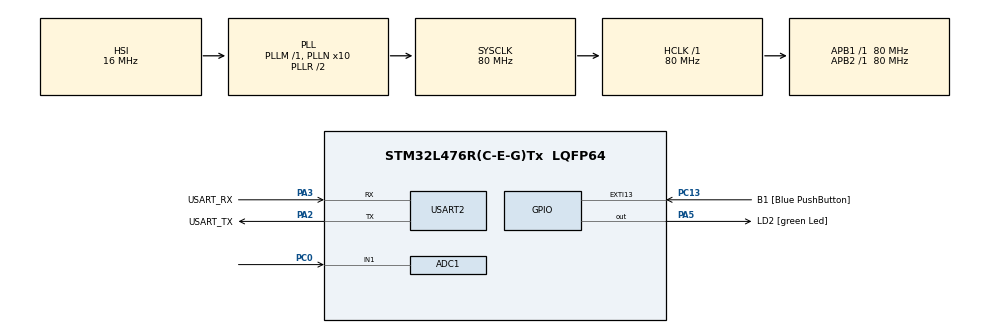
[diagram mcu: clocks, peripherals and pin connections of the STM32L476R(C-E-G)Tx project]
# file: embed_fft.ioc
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ADC1.Channel-0\#ChannelRegularConversion=ADC_CHANNEL_1
ADC1.ContinuousConvMode=DISABLE
ADC1.ExternalTrigConv=ADC_EXTERNALTRIG_T3_TRGO
ADC1.ExternalTrigConvEdge=ADC_EXTERNALTRIGCONVEDGE_RISING
ADC1.NbrOfConversionFlag=1
ADC1.OffsetNumber-0\#ChannelRegularConversion=ADC_OFFSET_NONE
ADC1.Rank-0\#ChannelRegularConversion=1
ADC1.SamplingTime-0\#ChannelRegularConversion=ADC_SAMPLETIME_2CYCLES_5
ADC1.master=1
Dma.Request0=USART2_RX
Dma.Request1=USART2_TX
Dma.USART2_RX.0.Direction=DMA_PERIPH_TO_MEMORY
Dma.USART2_RX.0.Instance=DMA1_Channel6
Dma.USART2_RX.0.MemDataAlignment=DMA_MDATAALIGN_BYTE
Dma.USART2_RX.0.MemInc=DMA_MINC_ENABLE
Dma.USART2_RX.0.Mode=DMA_CIRCULAR
Dma.USART2_RX.0.PeriphDataAlignment=DMA_PDATAALIGN_BYTE
Dma.USART2_RX.0.PeriphInc=DMA_PINC_DISABLE
Dma.USART2_RX.0.Priority=DMA_PRIORITY_MEDIUM
Dma.USART2_TX.1.Direction=DMA_MEMORY_TO_PERIPH
Dma.USART2_TX.1.Instance=DMA1_Channel7
Dma.USART2_TX.1.MemDataAlignment=DMA_MDATAALIGN_BYTE
Dma.USART2_TX.1.MemInc=DMA_MINC_ENABLE
Dma.USART2_TX.1.Mode=DMA_NORMAL
Dma.USART2_TX.1.PeriphDataAlignment=DMA_PDATAALIGN_BYTE
Dma.USART2_TX.1.PeriphInc=DMA_PINC_DISABLE
Dma.USART2_TX.1.Priority=DMA_PRIORITY_HIGH
FREERTOS.INCLUDE_vTaskDelayUntil=1
FREERTOS.INCLUDE_xTaskGetCurrentTaskHandle=1
FREERTOS.INCLUDE_xTaskGetHandle=1
FREERTOS.Tasks01=defaultTask,0,128,StartDefaultTask,Default,NULL,Dynamic,NULL,NULL
FREERTOS.configTOTAL_HEAP_SIZE=50000
FREERTOS.configUSE_NEWLIB_REENTRANT=1
Mcu.Family=STM32L4
Mcu.Name=STM32L476R(C-E-G)Tx
Mcu.Package=LQFP64
NVIC.ADC1_2_IRQn=true\:5\:0\:false\:false\:true\:true\:true\:true\:true
NVIC.DMA1_Channel6_IRQn=true\:5\:0\:false\:false\:true\:true\:false\:true\:true
NVIC.DMA1_Channel7_IRQn=true\:5\:0\:false\:false\:true\:true\:false\:true\:true
NVIC.PriorityGroup=NVIC_PRIORITYGROUP_4
NVIC.TIM1_UP_TIM16_IRQn=true\:15\:0\:false\:false\:true\:false\:false\:true\:true
NVIC.TIM6_DAC_IRQn=true\:5\:0\:false\:false\:true\:true\:true\:true\:true
NVIC.TimeBase=TIM1_UP_TIM16_IRQn
NVIC.TimeBaseIP=TIM1
NVIC.USART2_IRQn=true\:5\:0\:false\:false\:true\:true\:true\:true\:true
PA13\ (JTMS-SWDIO).GPIO_Label=TMS
PA13\ (JTMS-SWDIO).Mode=Serial_Wire
PA13\ (JTMS-SWDIO).Signal=SYS_JTMS-SWDIO
PA14\ (JTCK-SWCLK).GPIO_Label=TCK
PA14\ (JTCK-SWCLK).Mode=Serial_Wire
PA14\ (JTCK-SWCLK).Signal=SYS_JTCK-SWCLK
PA2.GPIO_Label=USART_TX
PA2.GPIO_Mode=GPIO_MODE_AF_PP
PA2.GPIO_PuPd=GPIO_NOPULL
PA2.GPIO_Speed=GPIO_SPEED_FREQ_VERY_HIGH
PA2.Mode=Asynchronous
PA2.Signal=USART2_TX
PA3.GPIO_Label=USART_RX
PA3.GPIO_Mode=GPIO_MODE_AF_PP
PA3.GPIO_PuPd=GPIO_NOPULL
PA3.GPIO_Speed=GPIO_SPEED_FREQ_VERY_HIGH
PA3.Mode=Asynchronous
PA3.Signal=USART2_RX
PA5.GPIO_Label=LD2 [green Led]
PA5.GPIO_ModeDefaultOutputPP=GPIO_MODE_OUTPUT_PP
PA5.GPIO_PuPd=GPIO_NOPULL
PA5.GPIO_Speed=GPIO_SPEED_FREQ_LOW
PA5.Signal=GPIO_Output
PB3\ (JTDO-TRACESWO).GPIO_Label=SWO
PB3\ (JTDO-TRACESWO).Signal=SYS_JTDO-SWO
PC0.Signal=ADCx_IN1
PC13.GPIO_Label=B1 [Blue PushButton]
PC13.GPIO_ModeDefaultEXTI=GPIO_MODE_IT_FALLING
PC13.GPIO_PuPd=GPIO_NOPULL
PC13.Signal=GPXTI13
PC14-OSC32_IN\ (PC14).Mode=LSE-External-Oscillator
PC14-OSC32_IN\ (PC14).Signal=RCC_OSC32_IN
PC15-OSC32_OUT\ (PC15).Mode=LSE-External-Oscillator
PC15-OSC32_OUT\ (PC15).Signal=RCC_OSC32_OUT
PH0-OSC_IN\ (PH0).Signal=RCC_OSC_IN
PH1-OSC_OUT\ (PH1).Signal=RCC_OSC_OUT
ProjectManager.HeapSize=0x200
ProjectManager.StackSize=0x400
ProjectManager.TargetToolchain=STM32CubeIDE
RCC.ADCFreq_Value=44000000
RCC.AHBFreq_Value=80000000
RCC.APB1Freq_Value=80000000
RCC.APB1TimFreq_Value=80000000
RCC.APB2Freq_Value=80000000
RCC.APB2TimFreq_Value=80000000
RCC.CortexFreq_Value=80000000
RCC.HCLKFreq_Value=80000000
RCC.HSE_VALUE=8000000
RCC.HSI_VALUE=16000000
RCC.MSIClockRange=RCC_MSIRANGE_5
RCC.MSI_VALUE=2000000
RCC.PLLN=10
RCC.PLLSAI1N=11
RCC.PLLSAI1R=RCC_PLLR_DIV4
RCC.PLLSourceVirtual=RCC_PLLSOURCE_HSI
RCC.PREFETCH_ENABLE=1
RCC.SYSCLKFreq_VALUE=80000000
RCC.SYSCLKSource=RCC_SYSCLKSOURCE_PLLCLK
RCC.USBFreq_Value=88000000
RCC.VCOOutputFreq_Value=160000000
SH.ADCx_IN1.0=ADC1_IN1,IN1-Single-Ended
TIM3.Channel-PWM\ Generation1\ No\ Output=TIM_CHANNEL_1
TIM3.Period=1814
TIM3.TIM_MasterOutputTrigger=TIM_TRGO_UPDATE
TIM6.Period=65535 - 1
TIM6.Prescaler=8000-1
USART2.VirtualMode-Asynchronous=VM_ASYNC
VP_FREERTOS_VS_CMSIS_V1.Mode=CMSIS_V1
VP_SYS_VS_tim1.Mode=TIM1
VP_TIM3_VS_ClockSourceINT.Mode=Internal
VP_TIM3_VS_no_output1.Mode=PWM Generation1 No Output
VP_TIM6_VS_ClockSourceINT.Mode=Enable_Timer
board=NUCLEO-L476RG

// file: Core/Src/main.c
/* USER CODE BEGIN Header */
/**
  ******************************************************************************
  * @file           : main.c
  * @brief          : Task, queue, peripheral initialization and starting of RTOS scheduler
  ******************************************************************************
  * @attention
  *
  * Copyright (c) 2022 STMicroelectronics.
  * All rights reserved.
  *
  * This software is licensed under terms that can be found in the LICENSE file
  * in the root directory of this software component.
  * If no LICENSE file comes with this software, it is provided AS-IS.
  *
  ******************************************************************************
  */
/* USER CODE END Header */
#include "main.h"

/* USER CODE BEGIN Includes */

// System Includes
#include "FreeRTOS.h"
#include "timers.h"
#include "queue.h"
#include "semphr.h"
#include "event_groups.h"
#include "task.h"

// General Includes
#include <stdlib.h>
#include <stdio.h>
#include <complex.h>
#include "math.h"

// File Specific Includes
#include "global.h"
#include "transform.h"
#include "analysis.h"
#include "uart.h"
#include "adc.h"
/* USER CODE END Includes */

/* USER CODE BEGIN PD */
#define TIM_PERIOD 1e6/FS
/* USER CODE END PD */

ADC_HandleTypeDef hadc1;

TIM_HandleTypeDef htim3;
TIM_HandleTypeDef htim6;

UART_HandleTypeDef huart2;
DMA_HandleTypeDef hdma_usart2_rx;
DMA_HandleTypeDef hdma_usart2_tx;
/* USER CODE BEGIN PV */
TaskHandle_t rdr;
TaskHandle_t adc;
TaskHandle_t tf;
TaskHandle_t ansys;

QueueHandle_t stats_mbx;
QueueHandle_t buffer_mbx;
QueueHandle_t res_mbx;

/* USER CODE END PV */

void SystemClock_Config(void);
static void MX_GPIO_Init(void);
static void MX_DMA_Init(void);
static void MX_USART2_UART_Init(void);
static void MX_ADC1_Init(void);
static void MX_TIM6_Init(void);
static void MX_TIM3_Init(void);

int main(void)
{

  /* MCU Configuration--------------------------------------------------------*/

  /* Reset of all peripherals, Initializes the Flash interface and the Systick. */
  HAL_Init();

  /* Configure the system clock */
  SystemClock_Config();

  /* Initialize all configured peripherals */
  MX_GPIO_Init();
  MX_DMA_Init();
  MX_USART2_UART_Init();
  MX_ADC1_Init();
  MX_TIM6_Init();
  MX_TIM3_Init();
  /* USER CODE BEGIN 2 */
  HAL_ADCEx_Calibration_Start(&hadc1, ADC_SINGLE_ENDED); // Calibrate ADC on startup
  /* USER CODE END 2 */

  /* USER CODE BEGIN RTOS_QUEUES */
  stats_mbx = xQueueCreate(5, sizeof(stats_t));
  if(stats_mbx == NULL)
    {
  	  printf("Could not build stats mailbox\n\r");
  	  exit(1);
    }

  buffer_mbx = xQueueCreate(2, SAMPLES*sizeof(uint16_t));
  if(buffer_mbx == NULL)
    {
  	  printf("Could not build buffer mailbox\n\r");
  	  exit(1);
    }

  res_mbx = xQueueCreate(20, (SMP_2+1)*sizeof(float));
  if(res_mbx == NULL)
  {
	  printf("Could not build results mailbox\n\r");
	  exit(1);
  }
  /* USER CODE END RTOS_QUEUES */

  /* Create the thread(s) */
  /* USER CODE BEGIN RTOS_THREADS */
  xTaskCreate(read_Task, "rdr", 1024, NULL, PriorityNormal, &rdr);
  xTaskCreate(txm_Task, "tf", 10000, NULL, PriorityHigh, &tf);
  xTaskCreate(ansys_Task, "ansys", 2048, NULL, PriorityNormal, &ansys);

  /* USER CODE END RTOS_THREADS */

  /* Start scheduler */
  /* Infinite loop */
  /* USER CODE BEGIN WHILE */

  vTaskStartScheduler();

  while (1)
  {
    /* USER CODE END WHILE */

  }
}

void SystemClock_Config(void)
{
  RCC_OscInitTypeDef RCC_OscInitStruct = {0};
  RCC_ClkInitTypeDef RCC_ClkInitStruct = {0};

  /** Configure the main internal regulator output voltage
  */
  if (HAL_PWREx_ControlVoltageScaling(PWR_REGULATOR_VOLTAGE_SCALE1) != HAL_OK)
  {
    Error_Handler();
  }

  /** Initializes the RCC Oscillators according to the specified parameters
  * in the RCC_OscInitTypeDef structure.
  */
  RCC_OscInitStruct.OscillatorType = RCC_OSCILLATORTYPE_HSI;
  RCC_OscInitStruct.HSIState = RCC_HSI_ON;
  RCC_OscInitStruct.HSICalibrationValue = RCC_HSICALIBRATION_DEFAULT;
  RCC_OscInitStruct.PLL.PLLState = RCC_PLL_ON;
  RCC_OscInitStruct.PLL.PLLSource = RCC_PLLSOURCE_HSI;
  RCC_OscInitStruct.PLL.PLLM = 1;
  RCC_OscInitStruct.PLL.PLLN = 10;
  RCC_OscInitStruct.PLL.PLLP = RCC_PLLP_DIV7;
  RCC_OscInitStruct.PLL.PLLQ = RCC_PLLQ_DIV2;
  RCC_OscInitStruct.PLL.PLLR = RCC_PLLR_DIV2;
  if (HAL_RCC_OscConfig(&RCC_OscInitStruct) != HAL_OK)
  {
    Error_Handler();
  }

  /** Initializes the CPU, AHB and APB buses clocks
  */
  RCC_ClkInitStruct.ClockType = RCC_CLOCKTYPE_HCLK|RCC_CLOCKTYPE_SYSCLK
                              |RCC_CLOCKTYPE_PCLK1|RCC_CLOCKTYPE_PCLK2;
  RCC_ClkInitStruct.SYSCLKSource = RCC_SYSCLKSOURCE_PLLCLK;
  RCC_ClkInitStruct.AHBCLKDivider = RCC_SYSCLK_DIV1;
  RCC_ClkInitStruct.APB1CLKDivider = RCC_HCLK_DIV1;
  RCC_ClkInitStruct.APB2CLKDivider = RCC_HCLK_DIV1;

  if (HAL_RCC_ClockConfig(&RCC_ClkInitStruct, FLASH_LATENCY_4) != HAL_OK)
  {
    Error_Handler();
  }
}

static void MX_ADC1_Init(void)
{

  ADC_MultiModeTypeDef multimode = {0};
  ADC_ChannelConfTypeDef sConfig = {0};

  /** Common config
  */
  hadc1.Instance = ADC1;
  hadc1.Init.ClockPrescaler = ADC_CLOCK_ASYNC_DIV1;
  hadc1.Init.Resolution = ADC_RESOLUTION_12B;
  hadc1.Init.DataAlign = ADC_DATAALIGN_RIGHT;
  hadc1.Init.ScanConvMode = ADC_SCAN_DISABLE;
  hadc1.Init.EOCSelection = ADC_EOC_SINGLE_CONV;
  hadc1.Init.LowPowerAutoWait = DISABLE;
  hadc1.Init.ContinuousConvMode = DISABLE;
  hadc1.Init.NbrOfConversion = 1;
  hadc1.Init.DiscontinuousConvMode = DISABLE;
  hadc1.Init.ExternalTrigConv = ADC_EXTERNALTRIG_T3_TRGO;
  hadc1.Init.ExternalTrigConvEdge = ADC_EXTERNALTRIGCONVEDGE_RISING;
  hadc1.Init.DMAContinuousRequests = DISABLE;
  hadc1.Init.Overrun = ADC_OVR_DATA_PRESERVED;
  hadc1.Init.OversamplingMode = DISABLE;
  if (HAL_ADC_Init(&hadc1) != HAL_OK)
  {
    Error_Handler();
  }

  /** Configure the ADC multi-mode
  */
  multimode.Mode = ADC_MODE_INDEPENDENT;
  if (HAL_ADCEx_MultiModeConfigChannel(&hadc1, &multimode) != HAL_OK)
  {
    Error_Handler();
  }

  /** Configure Regular Channel
  */
  sConfig.Channel = ADC_CHANNEL_1;
  sConfig.Rank = ADC_REGULAR_RANK_1;
  sConfig.SamplingTime = ADC_SAMPLETIME_2CYCLES_5;
  sConfig.SingleDiff = ADC_SINGLE_ENDED;
  sConfig.OffsetNumber = ADC_OFFSET_NONE;
  sConfig.Offset = 0;
  if (HAL_ADC_ConfigChannel(&hadc1, &sConfig) != HAL_OK)
  {
    Error_Handler();
  }

}

static void MX_TIM3_Init(void)
{

  TIM_ClockConfigTypeDef sClockSourceConfig = {0};
  TIM_MasterConfigTypeDef sMasterConfig = {0};
  TIM_OC_InitTypeDef sConfigOC = {0};

  htim3.Instance = TIM3;
  htim3.Init.Prescaler = 80 - 1;
  htim3.Init.CounterMode = TIM_COUNTERMODE_UP;
  htim3.Init.Period = (int) floor(TIM_PERIOD);
  htim3.Init.ClockDivision = TIM_CLOCKDIVISION_DIV1;
  htim3.Init.AutoReloadPreload = TIM_AUTORELOAD_PRELOAD_DISABLE;
  if (HAL_TIM_Base_Init(&htim3) != HAL_OK)
  {
    Error_Handler();
  }
  sClockSourceConfig.ClockSource = TIM_CLOCKSOURCE_INTERNAL;
  if (HAL_TIM_ConfigClockSource(&htim3, &sClockSourceConfig) != HAL_OK)
  {
    Error_Handler();
  }
  if (HAL_TIM_PWM_Init(&htim3) != HAL_OK)
  {
    Error_Handler();
  }
  sMasterConfig.MasterOutputTrigger = TIM_TRGO_UPDATE;
  sMasterConfig.MasterSlaveMode = TIM_MASTERSLAVEMODE_DISABLE;
  if (HAL_TIMEx_MasterConfigSynchronization(&htim3, &sMasterConfig) != HAL_OK)
  {
    Error_Handler();
  }
  sConfigOC.OCMode = TIM_OCMODE_PWM1;
  sConfigOC.Pulse = 0;
  sConfigOC.OCPolarity = TIM_OCPOLARITY_HIGH;
  sConfigOC.OCFastMode = TIM_OCFAST_DISABLE;
  if (HAL_TIM_PWM_ConfigChannel(&htim3, &sConfigOC, TIM_CHANNEL_1) != HAL_OK)
  {
    Error_Handler();
  }

}

static void MX_TIM6_Init(void)
{

  TIM_MasterConfigTypeDef sMasterConfig = {0};

  /* USER CODE BEGIN TIM6_Init 1 */
  // Used for timing transformations at uSecond precision
  /* USER CODE END TIM6_Init 1 */
  htim6.Instance = TIM6;
  htim6.Init.Prescaler = 80 - 1;
  htim6.Init.CounterMode = TIM_COUNTERMODE_UP;
  htim6.Init.Period = 65535;
  htim6.Init.AutoReloadPreload = TIM_AUTORELOAD_PRELOAD_DISABLE;
  if (HAL_TIM_Base_Init(&htim6) != HAL_OK)
  {
    Error_Handler();
  }
  sMasterConfig.MasterOutputTrigger = TIM_TRGO_RESET;
  sMasterConfig.MasterSlaveMode = TIM_MASTERSLAVEMODE_DISABLE;
  if (HAL_TIMEx_MasterConfigSynchronization(&htim6, &sMasterConfig) != HAL_OK)
  {
    Error_Handler();
  }

}

static void MX_USART2_UART_Init(void)
{

  huart2.Instance = USART2;
  huart2.Init.BaudRate = 115200;
  huart2.Init.WordLength = UART_WORDLENGTH_8B;
  huart2.Init.StopBits = UART_STOPBITS_1;
  huart2.Init.Parity = UART_PARITY_NONE;
  huart2.Init.Mode = UART_MODE_TX_RX;
  huart2.Init.HwFlowCtl = UART_HWCONTROL_NONE;
  huart2.Init.OverSampling = UART_OVERSAMPLING_16;
  huart2.Init.OneBitSampling = UART_ONE_BIT_SAMPLE_DISABLE;
  huart2.AdvancedInit.AdvFeatureInit = UART_ADVFEATURE_NO_INIT;
  if (HAL_UART_Init(&huart2) != HAL_OK)
  {
    Error_Handler();
  }

}

static void MX_DMA_Init(void)
{

  /* DMA controller clock enable */
  __HAL_RCC_DMA1_CLK_ENABLE();

  /* DMA interrupt init */
  /* DMA1_Channel6_IRQn interrupt configuration */
  HAL_NVIC_SetPriority(DMA1_Channel6_IRQn, 5, 0);
  HAL_NVIC_EnableIRQ(DMA1_Channel6_IRQn);
  /* DMA1_Channel7_IRQn interrupt configuration */
  HAL_NVIC_SetPriority(DMA1_Channel7_IRQn, 5, 0);
  HAL_NVIC_EnableIRQ(DMA1_Channel7_IRQn);

}

static void MX_GPIO_Init(void)
{
  GPIO_InitTypeDef GPIO_InitStruct = {0};

  /* GPIO Ports Clock Enable */
  __HAL_RCC_GPIOC_CLK_ENABLE();
  __HAL_RCC_GPIOH_CLK_ENABLE();
  __HAL_RCC_GPIOA_CLK_ENABLE();
  __HAL_RCC_GPIOB_CLK_ENABLE();

  /*Configure GPIO pin Output Level */
  HAL_GPIO_WritePin(LD2_GPIO_Port, LD2_Pin, GPIO_PIN_RESET);

  /*Configure GPIO pin : B1_Pin */
  GPIO_InitStruct.Pin = B1_Pin;
  GPIO_InitStruct.Mode = GPIO_MODE_IT_FALLING;
  GPIO_InitStruct.Pull = GPIO_NOPULL;
  HAL_GPIO_Init(B1_GPIO_Port, &GPIO_InitStruct);

  /*Configure GPIO pin : LD2_Pin */
  GPIO_InitStruct.Pin = LD2_Pin;
  GPIO_InitStruct.Mode = GPIO_MODE_OUTPUT_PP;
  GPIO_InitStruct.Pull = GPIO_NOPULL;
  GPIO_InitStruct.Speed = GPIO_SPEED_FREQ_LOW;
  HAL_GPIO_Init(LD2_GPIO_Port, &GPIO_InitStruct);

}

void HAL_TIM_PeriodElapsedCallback(TIM_HandleTypeDef *htim)
{
  if (htim->Instance == TIM1) {
    HAL_IncTick();
  }
}

void Error_Handler(void)
{
  __disable_irq();
  while (1)
  {
  }
}
